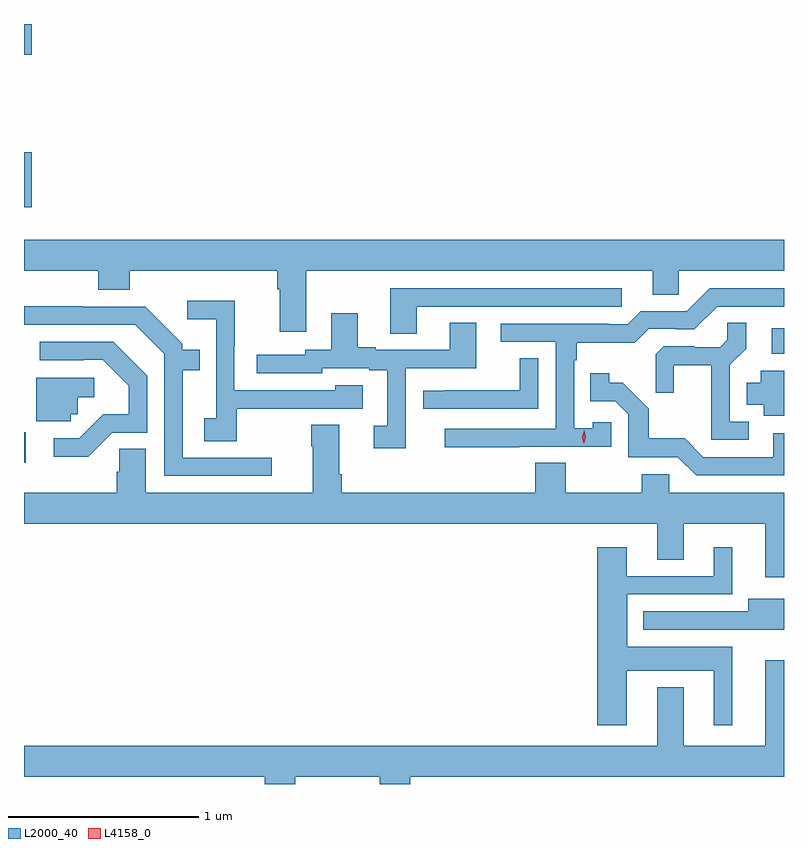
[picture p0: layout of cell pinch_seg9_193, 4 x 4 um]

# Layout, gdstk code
import gdstk
lib = gdstk.Library(unit=1e-6, precision=1e-09)
def R(c, l, rs):  # rectangles x0, y0, x1, y1
    for r in rs: c.add(gdstk.rectangle(r[:2], r[2:], *l))
def P(c, l, *ps):  # polygons
    for p in ps: c.add(gdstk.Polygon(p, *l))
L2000_40 = (2000, 40)
L4158_0 = (4158, 0)

pinch_seg9_193 = lib.new_cell('pinch_seg9_193')
R(pinch_seg9_193, L2000_40, [(529.299,1216.722,529.309,1216.882), (533.235,1217.295,533.299,1217.431), (529.299,1218.066,529.34,1218.355), (529.299,1218.87,529.34,1219.031)])
P(pinch_seg9_193, L2000_40, [(529.299,1217.732),(529.691,1217.732),(529.691,1217.633),(529.856,1217.633),(529.856,1217.732),(530.633,1217.732),(530.633,1217.636),(530.645,1217.636),(530.645,1217.412),(530.785,1217.412),(530.785,1217.732),(532.607,1217.732),(532.607,1217.605),(532.746,1217.605),(532.746,1217.732),(533.299,1217.732),(533.299,1217.896),(529.299,1217.896)],
  [(531.367,1217.544),(532.444,1217.544),(532.444,1217.64),(531.227,1217.64),(531.227,1217.401),(531.367,1217.401)],
  [(531.905,1216.806),(532.389,1216.806),(532.389,1216.935),(532.293,1216.935),(532.293,1216.903),(532.194,1216.903),(532.194,1217.261),(532.207,1217.261),(532.207,1217.354),(532.514,1217.354),(532.587,1217.427),(532.726,1217.427),(532.726,1217.424),(532.827,1217.424),(532.947,1217.544),(533.299,1217.544),(533.299,1217.64),(532.908,1217.64),(532.788,1217.52),(532.545,1217.52),(532.476,1217.451),(532.376,1217.451),(532.376,1217.454),(531.807,1217.454),(531.807,1217.358),(532.098,1217.358),(532.098,1216.902),(531.513,1216.902),(531.513,1216.804),(531.905,1216.804)],
  [(530.419,1217.005),(530.723,1217.005),(530.723,1217.007),(531.082,1217.007),(531.082,1217.131),(530.937,1217.131),(530.937,1217.103),(530.406,1217.103),(530.406,1217.336),(530.409,1217.336),(530.409,1217.575),(530.157,1217.575),(530.157,1217.477),(530.31,1217.477),(530.31,1216.956),(530.247,1216.956),(530.247,1216.834),(530.419,1216.834)],
  [(530.602,1216.749),(530.134,1216.749),(530.134,1217.208),(530.225,1217.208),(530.225,1217.317),(530.133,1217.317),(530.133,1217.349),(529.938,1217.544),(529.607,1217.544),(529.607,1217.546),(529.299,1217.546),(529.299,1217.448),(529.884,1217.448),(530.037,1217.295),(530.037,1216.653),(530.602,1216.653)],
  [(531.309,1217.22),(531.679,1217.22),(531.679,1217.459),(531.539,1217.459),(531.539,1217.316),(531.151,1217.316),(531.151,1217.329),(531.055,1217.329),(531.055,1217.509),(530.915,1217.509),(530.915,1217.316),(530.778,1217.316),(530.778,1217.289),(530.523,1217.289),(530.523,1217.193),(530.868,1217.193),(530.868,1217.22),(531.116,1217.22),(531.116,1217.208),(531.212,1217.208),(531.212,1216.917),(531.141,1216.917),(531.141,1216.797),(531.309,1216.797)],
  [(533.113,1216.938),(533.013,1216.938),(533.013,1217.237),(533.099,1217.323),(533.099,1217.459),(533.001,1217.459),(533.001,1217.368),(532.964,1217.331),(532.83,1217.331),(532.83,1217.334),(532.665,1217.334),(532.624,1217.293),(532.624,1217.091),(532.718,1217.091),(532.718,1217.234),(532.916,1217.234),(532.916,1216.842),(533.113,1216.842)],
  [(529.764,1216.881),(529.947,1216.881),(529.947,1217.179),(529.768,1217.358),(529.383,1217.358),(529.383,1217.262),(529.613,1217.262),(529.613,1217.265),(529.713,1217.265),(529.85,1217.128),(529.85,1216.978),(529.717,1216.978),(529.59,1216.851),(529.455,1216.851),(529.455,1216.754),(529.636,1216.754)],
  [(532.005,1217.273),(531.907,1217.273),(531.907,1217.103),(531.511,1217.103),(531.511,1217.102),(531.399,1217.102),(531.399,1217.007),(532.005,1217.007)],
  [(533.299,1217.206),(533.177,1217.206),(533.177,1217.143),(533.102,1217.143),(533.102,1217.027),(533.192,1217.027),(533.192,1216.97),(533.299,1216.97)],
  [(533.299,1216.878),(533.243,1216.878),(533.243,1216.752),(532.875,1216.752),(532.777,1216.851),(532.588,1216.851),(532.588,1217.006),(532.45,1217.144),(532.38,1217.144),(532.38,1217.194),(532.279,1217.194),(532.279,1217.046),(532.41,1217.046),(532.479,1216.977),(532.479,1216.752),(532.74,1216.752),(532.836,1216.656),(533.299,1216.656)],
  [(529.545,1216.977),(529.581,1216.977),(529.581,1217.066),(529.669,1217.066),(529.669,1217.169),(529.364,1217.169),(529.364,1216.941),(529.545,1216.941)],
  [(533.299,1216.564),(532.695,1216.564),(532.695,1216.662),(532.549,1216.662),(532.549,1216.564),(532.149,1216.564),(532.149,1216.721),(531.989,1216.721),(531.989,1216.564),(530.972,1216.564),(530.972,1216.66),(530.959,1216.66),(530.959,1216.921),(530.812,1216.921),(530.812,1216.808),(530.819,1216.808),(530.819,1216.564),(529.939,1216.564),(529.939,1216.796),(529.801,1216.796),(529.801,1216.674),(529.787,1216.674),(529.787,1216.564),(529.299,1216.564),(529.299,1216.4),(532.631,1216.4),(532.631,1216.21),(532.771,1216.21),(532.771,1216.4),(533.201,1216.4),(533.201,1216.119),(533.299,1216.119)],
  [(532.471,1215.626),(532.928,1215.626),(532.928,1215.339),(533.026,1215.339),(533.026,1215.754),(532.474,1215.754),(532.474,1216.029),(533.026,1216.029),(533.026,1216.276),(532.928,1216.276),(532.928,1216.125),(532.471,1216.125),(532.471,1216.276),(532.316,1216.276),(532.316,1215.339),(532.471,1215.339)],
  [(533.299,1216.006),(533.111,1216.006),(533.111,1215.939),(532.559,1215.939),(532.559,1215.843),(533.115,1215.843),(533.115,1215.842),(533.299,1215.842)],
  [(533.299,1215.682),(533.201,1215.682),(533.201,1215.232),(532.771,1215.232),(532.771,1215.541),(532.631,1215.541),(532.631,1215.232),(529.299,1215.232),(529.299,1215.068),(530.567,1215.068),(530.567,1215.031),(530.727,1215.031),(530.727,1215.068),(531.172,1215.068),(531.172,1215.031),(531.332,1215.031),(531.332,1215.068),(533.299,1215.068)])
P(pinch_seg9_193, L4158_0, [(532.246,1216.821),(532.246,1216.821),(532.236,1216.857),(532.247,1216.893),(532.247,1216.893),(532.247,1216.893),(532.256,1216.857),(532.246,1216.821)])

lib.write_gds('pinch_seg9_193.gds')
